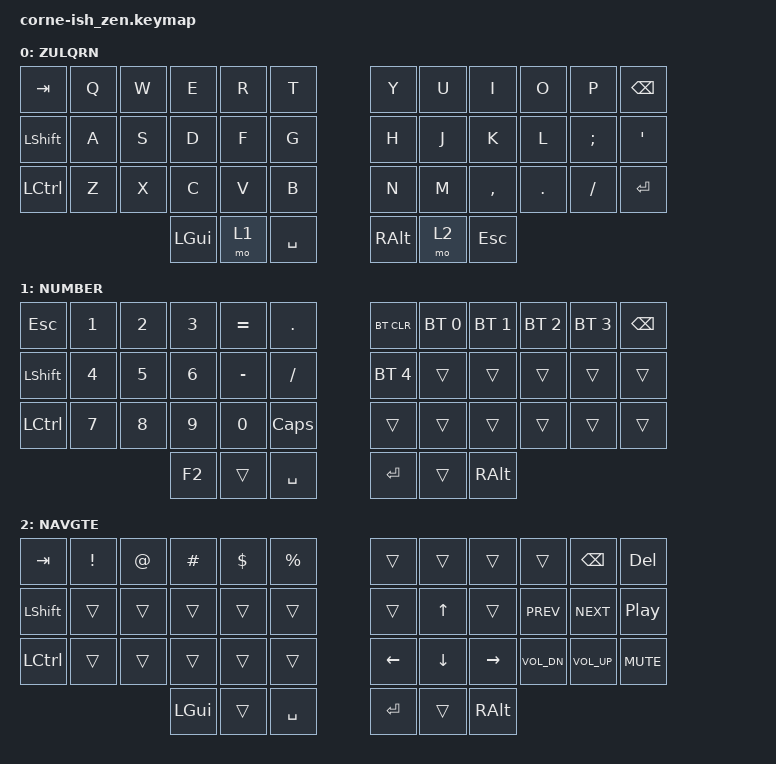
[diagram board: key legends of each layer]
/*
*
* Copyright (c) 2021 Darryl deHaan
* SPDX-License-Identifier: MIT
*
*/

#include <behaviors.dtsi>
#include <dt-bindings/zmk/keys.h>
#include <dt-bindings/zmk/bt.h>

/ {
        keymap {
                compatible = "zmk,keymap";

                default_layer {
                        label = "ZULQRN";
// -----------------------------------------------------------------------------------------
// |  TAB |  Q  |  W  |  E  |  R  |  T  |   |  Y  |  U   |  I  |  O  |  P  | BKSP |
// | SHFT |  A  |  S  |  D  |  F  |  G  |   |  H  |  J   |  K  |  L  |  ;  |  '   |
// | CTRL |  Z  |  X  |  C  |  V  |  B  |   |  N  |  M   |  ,  |  .  |  /  | ENT  |
//                    | GUI | LWR | SPC |   | ALT | RSE  | ESC |
                        bindings = <
   &kp TAB   &kp Q &kp W &kp E &kp R &kp T   &kp Y &kp U  &kp I     &kp O   &kp P    &kp BSPC
   &kp LSHFT &kp A &kp S &kp D &kp F &kp G   &kp H &kp J  &kp K     &kp L   &kp SEMI &kp SQT
   &kp LCTRL &kp Z &kp X &kp C &kp V &kp B   &kp N &kp M  &kp COMMA &kp DOT &kp FSLH &kp RET
                  &kp LGUI &mo 1 &kp SPACE   &kp RALT &mo 2 &kp ESC
                        >;
                };
                lower_layer {
                        label = "NUMBER";
// -----------------------------------------------------------------------------------------
// |  ESC |  1  |  2  |  3  |  =  |   .  |   | BTCLR | BT1 | BT2 | BT3 | BT4 | BKSP |
// | SHFT |  4  |  5  |  6  |  -  |   /  |   |  BT5  |     |     |     |     |      |
// | CTRL |  7  |  8  |  9  |  0  | CLCK |   |       |     |     |     |     |      |
//                    | F2  |     |  SPC |   |  ENT  |     | ALT |
                        bindings = <
   &kp ESC   &kp N1 &kp N2 &kp N3 &kp EQUAL &kp DOT      &bt BT_CLR   &bt BT_SEL 0  &bt BT_SEL 1  &bt BT_SEL 2  &bt BT_SEL 3  &kp BSPC
   &kp LSHFT &kp N4 &kp N5 &kp N6 &kp MINUS &kp FSLH     &bt BT_SEL 4 &trans        &trans        &trans        &trans        &trans
   &kp LCTRL &kp N7 &kp N8 &kp N9 &kp N0    &kp CLCK     &trans       &trans        &trans        &trans        &trans        &trans
                              &kp F2  &trans &kp SPACE   &kp RET      &trans        &kp RALT
                        >;
                };

                raise_layer {
                        label = "NAVGTE";
// -----------------------------------------------------------------------------------------
// |  TAB |  !  |  @  |  #  |  $  |  %  |   |      |      |      |      | BKSP |  DEL |
// | SHFT |     |     |     |     |     |   |      |  UP  |      | PREV | NEXT | PLAY |
// | CTRL |     |     |     |     |     |   | LEFT | DOWN | RGHT | VOL- | VOL+ | MUTE |
//                    | GUI |     | SPC |   |  ENT |      |  ALT |
                        bindings = <
   &kp  TAB  &kp EXCL &kp AT &kp HASH &kp DLLR &kp PRCNT   &trans   &trans    &trans    &trans       &kp BSPC     &kp DEL
   &kp LSHFT &trans   &trans &trans   &trans   &trans      &trans   &kp UP    &trans    &kp C_PREV   &kp C_NEXT   &kp C_PP
   &kp LCTRL &trans   &trans &trans   &trans   &trans      &kp LEFT &kp DOWN  &kp RIGHT &kp C_VOL_DN &kp C_VOL_UP &kp C_MUTE
                    	     &kp LGUI &trans   &kp SPACE   &kp RET   &trans   &kp RALT
                        >;
                };
        };
};
